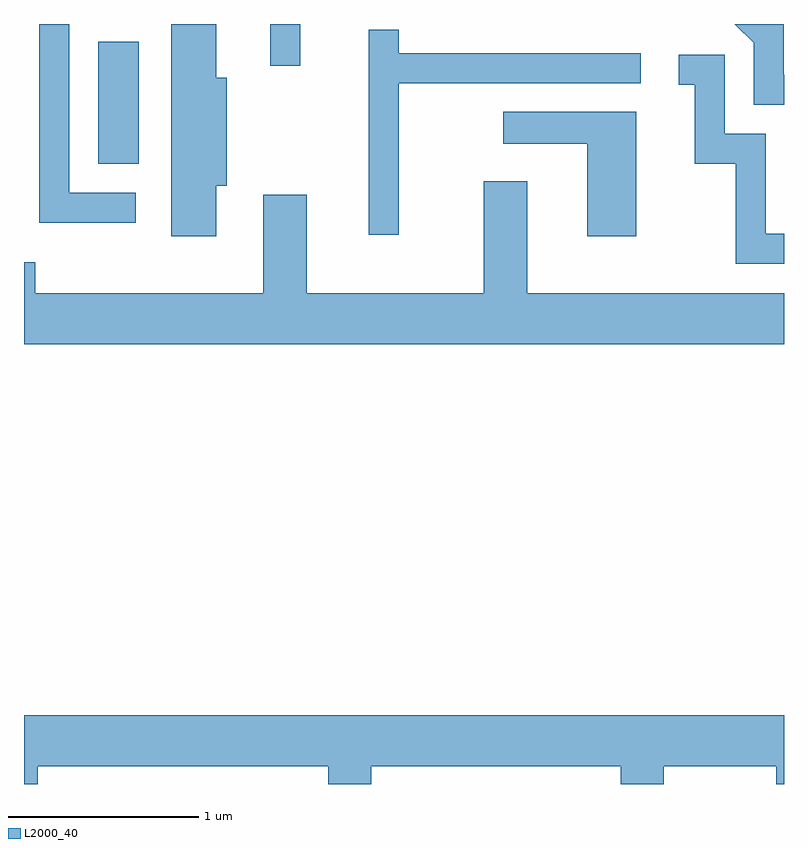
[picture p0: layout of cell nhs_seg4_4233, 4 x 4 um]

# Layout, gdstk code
import gdstk
lib = gdstk.Library(unit=1e-6, precision=1e-09)
def R(c, l, rs):  # rectangles x0, y0, x1, y1
    for r in rs: c.add(gdstk.rectangle(r[:2], r[2:], *l))
def P(c, l, *ps):  # polygons
    for p in ps: c.add(gdstk.Polygon(p, *l))
L2000_40 = (2000, 40)

nhs_seg4_4233 = lib.new_cell('nhs_seg4_4233')
R(nhs_seg4_4233, L2000_40, [(310.001,1291.246,310.214,1291.889), (310.906,1291.763,311.064,1291.982)])
P(nhs_seg4_4233, L2000_40, [(310.198,1291.094),(309.849,1291.094),(309.849,1291.982),(309.691,1291.982),(309.691,1290.936),(310.198,1290.936)],
  [(310.624,1291.131),(310.679,1291.131),(310.679,1291.699),(310.624,1291.699),(310.624,1291.982),(310.386,1291.982),(310.386,1290.866),(310.624,1290.866)],
  [(313.611,1291.714),(313.609,1291.714),(313.609,1291.982),(313.353,1291.982),(313.451,1291.884),(313.451,1291.556),(313.611,1291.556)],
  [(311.584,1291.671),(312.858,1291.671),(312.858,1291.829),(311.584,1291.829),(311.584,1291.953),(311.426,1291.953),(311.426,1290.873),(311.584,1290.873)],
  [(313.611,1290.879),(313.514,1290.879),(313.514,1291.404),(313.299,1291.404),(313.299,1291.819),(313.058,1291.819),(313.058,1291.661),(313.141,1291.661),(313.141,1291.246),(313.356,1291.246),(313.356,1290.721),(313.611,1290.721)],
  [(312.834,1291.519),(312.133,1291.519),(312.133,1291.351),(312.576,1291.351),(312.576,1290.866),(312.834,1290.866)],
  [(313.611,1290.564),(312.259,1290.564),(312.259,1291.154),(312.031,1291.154),(312.031,1290.564),(311.099,1290.564),(311.099,1291.084),(310.871,1291.084),(310.871,1290.564),(309.669,1290.564),(309.669,1290.729),(309.611,1290.729),(309.611,1290.296),(313.611,1290.296)],
  [(309.684,1288.076),(311.211,1288.076),(311.211,1287.982),(311.439,1287.982),(311.439,1288.076),(312.751,1288.076),(312.751,1287.982),(312.979,1287.982),(312.979,1288.076),(313.571,1288.076),(313.571,1287.982),(313.611,1287.982),(313.611,1288.344),(309.611,1288.344),(309.611,1287.982),(309.684,1287.982)])

lib.write_gds('nhs_seg4_4233.gds')
